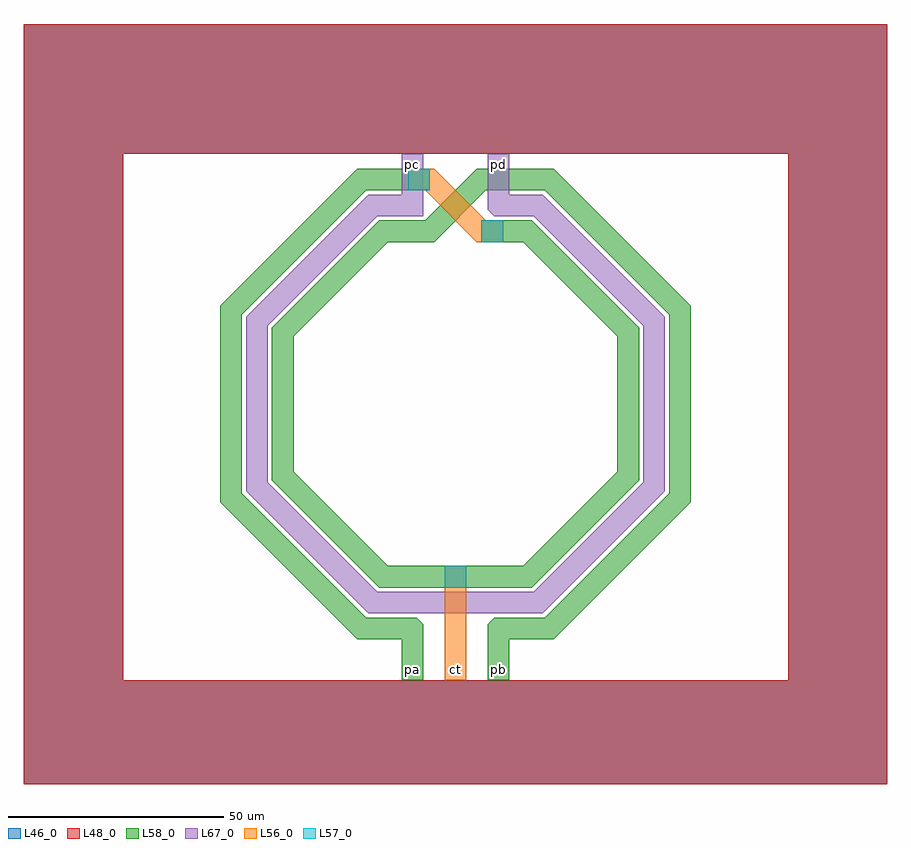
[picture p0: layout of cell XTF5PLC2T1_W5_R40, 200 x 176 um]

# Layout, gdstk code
import gdstk
lib = gdstk.Library(unit=1e-6, precision=1e-09)
def R(c, l, rs):  # rectangles x0, y0, x1, y1
    for r in rs: c.add(gdstk.rectangle(r[:2], r[2:], *l))
def P(c, l, *ps):  # polygons
    for p in ps: c.add(gdstk.Polygon(p, *l))
L46_0 = (46, 0)
L48_0 = (48, 0)
L56_0 = (56, 0)
L57_0 = (57, 0)
L58_0 = (58, 0)
L67_0 = (67, 0)

xtf5plc2t1_w5_r40 = lib.new_cell('XTF5PLC2T1_W5_R40')
P(xtf5plc2t1_w5_r40, L46_0, [(100,-88),(-100,-88),(-100,88),(77,88),(77,58),(-77,58),(-77,-64),(77,-64),(77,88),(100,88)])
P(xtf5plc2t1_w5_r40, L48_0, [(100,-88),(-100,-88),(-100,88),(77,88),(77,58),(-77,58),(-77,-64),(77,-64),(77,88),(100,88)])
R(xtf5plc2t1_w5_r40, L56_0, [(-2.5,-64,2.5,-37.5), (-2.5,-64,2.5,-59)])
P(xtf5plc2t1_w5_r40, L56_0, [(11,37.5),(4.965,37.5),(-7.035,49.5),(-11,49.5),(-11,54.5),(-4.965,54.5),(7.035,42.5),(11,42.5)])
R(xtf5plc2t1_w5_r40, L57_0, [(-2.5,-42.5,2.5,-37.5), (6,37.5,11,42.5), (-11,49.5,-6,54.5)])
R(xtf5plc2t1_w5_r40, L58_0, [(-12.5,-64,-7.5,-59), (7.5,-64,12.5,-59)])
P(xtf5plc2t1_w5_r40, L58_0, [(-6,49.5),(-20.64,49.5),(-49.5,20.64),(-49.5,-20.64),(-20.64,-49.5),(-8.965,-49.5),(-7.5,-50.965),(-7.5,-64),(-12.5,-64),(-12.5,-54.5),(-22.71,-54.5),(-54.5,-22.71),(-54.5,22.71),(-22.71,54.5),(-6,54.5)],
  [(54.5,-22.71),(22.71,-54.5),(12.5,-54.5),(12.5,-64),(7.5,-64),(7.5,-50.965),(8.965,-49.5),(20.64,-49.5),(49.5,-20.64),(49.5,20.64),(20.64,49.5),(7.035,49.5),(-4.965,37.5),(-15.635,37.5),(-37.5,15.635),(-37.5,-15.635),(-15.635,-37.5),(15.635,-37.5),(37.5,-15.635),(37.5,15.635),(15.635,37.5),(6,37.5),(6,42.5),(17.705,42.5),(42.5,17.705),(42.5,-17.705),(17.705,-42.5),(-17.705,-42.5),(-42.5,-17.705),(-42.5,17.705),(-17.705,42.5),(-7.035,42.5),(4.965,54.5),(22.71,54.5),(54.5,22.71)])
R(xtf5plc2t1_w5_r40, L67_0, [(-12.5,53,-7.5,58), (7.5,53,12.5,58)])
P(xtf5plc2t1_w5_r40, L67_0, [(48.5,-20.21),(20.21,-48.5),(-20.21,-48.5),(-48.5,-20.21),(-48.5,20.21),(-20.21,48.5),(-12.5,48.5),(-12.5,58),(-7.5,58),(-7.5,43.5),(-18.14,43.5),(-43.5,18.14),(-43.5,-18.14),(-18.14,-43.5),(18.14,-43.5),(43.5,-18.14),(43.5,18.14),(18.14,43.5),(8.965,43.5),(7.5,44.965),(7.5,58),(12.5,58),(12.5,48.5),(20.21,48.5),(48.5,20.21)])
xtf5plc2t1_w5_r40.add(gdstk.Label('pb', (10,-61.5), layer=58, texttype=0))
xtf5plc2t1_w5_r40.add(gdstk.Label('pa', (-10,-61.5), layer=58, texttype=0))
xtf5plc2t1_w5_r40.add(gdstk.Label('pd', (10,55.5), layer=67, texttype=0))
xtf5plc2t1_w5_r40.add(gdstk.Label('pc', (-10,55.5), layer=67, texttype=0))
xtf5plc2t1_w5_r40.add(gdstk.Label('ct', (0,-61.5), layer=56, texttype=0))

lib.write_gds('XTF5PLC2T1_W5_R40.gds')
